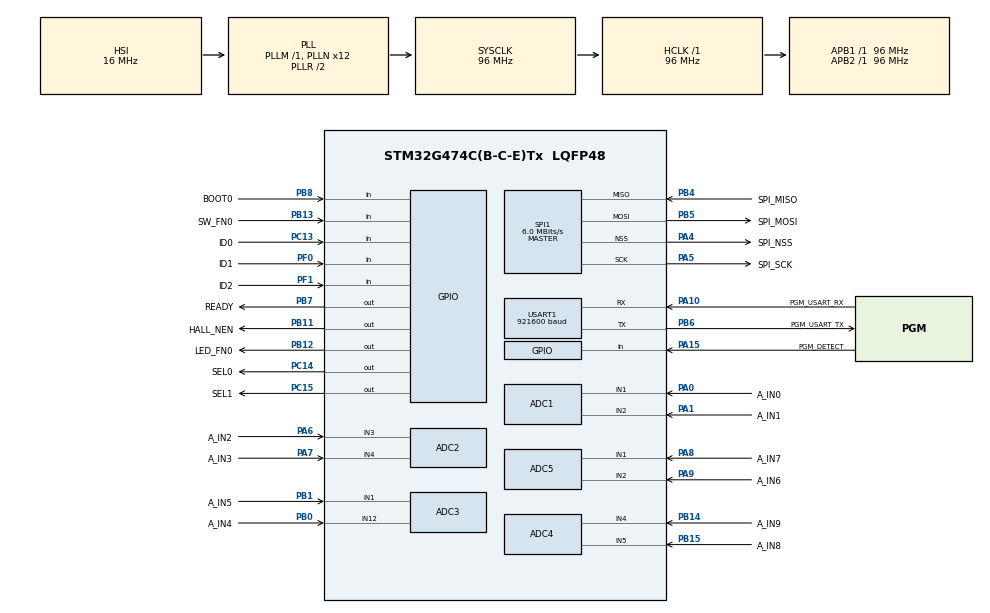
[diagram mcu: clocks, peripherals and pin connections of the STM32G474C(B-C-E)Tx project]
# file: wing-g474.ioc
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ADC1.Channel-1\#ChannelRegularConversion=ADC_CHANNEL_1
ADC1.EnableAnalogWatchDog1=false
ADC1.NbrOfConversion=1
ADC1.NbrOfConversionFlag=1
ADC1.OffsetNumber-1\#ChannelRegularConversion=ADC_OFFSET_NONE
ADC1.Rank-1\#ChannelRegularConversion=1
ADC1.SamplingTime-1\#ChannelRegularConversion=ADC_SAMPLETIME_2CYCLES_5
ADC1.master=1
ADC2.Channel-1\#ChannelRegularConversion=ADC_CHANNEL_3
ADC2.NbrOfConversionFlag=1
ADC2.OffsetNumber-1\#ChannelRegularConversion=ADC_OFFSET_NONE
ADC2.Rank-1\#ChannelRegularConversion=1
ADC2.SamplingTime-1\#ChannelRegularConversion=ADC_SAMPLETIME_2CYCLES_5
ADC3.Channel-0\#ChannelRegularConversion=ADC_CHANNEL_1
ADC3.NbrOfConversionFlag=1
ADC3.OffsetNumber-0\#ChannelRegularConversion=ADC_OFFSET_NONE
ADC3.Rank-0\#ChannelRegularConversion=1
ADC3.SamplingTime-0\#ChannelRegularConversion=ADC_SAMPLETIME_2CYCLES_5
ADC3.master=1
ADC4.Channel-0\#ChannelRegularConversion=ADC_CHANNEL_4
ADC4.NbrOfConversionFlag=1
ADC4.OffsetNumber-0\#ChannelRegularConversion=ADC_OFFSET_NONE
ADC4.Rank-0\#ChannelRegularConversion=1
ADC4.SamplingTime-0\#ChannelRegularConversion=ADC_SAMPLETIME_2CYCLES_5
ADC5.Channel-0\#ChannelRegularConversion=ADC_CHANNEL_1
ADC5.NbrOfConversionFlag=1
ADC5.OffsetNumber-0\#ChannelRegularConversion=ADC_OFFSET_NONE
ADC5.Rank-0\#ChannelRegularConversion=1
ADC5.SamplingTime-0\#ChannelRegularConversion=ADC_SAMPLETIME_2CYCLES_5
Dma.ADC1.0.Direction=DMA_PERIPH_TO_MEMORY
Dma.ADC1.0.EventEnable=DISABLE
Dma.ADC1.0.Instance=DMA1_Channel1
Dma.ADC1.0.MemDataAlignment=DMA_MDATAALIGN_HALFWORD
Dma.ADC1.0.MemInc=DMA_MINC_ENABLE
Dma.ADC1.0.Mode=DMA_CIRCULAR
Dma.ADC1.0.PeriphDataAlignment=DMA_PDATAALIGN_HALFWORD
Dma.ADC1.0.PeriphInc=DMA_PINC_DISABLE
Dma.ADC1.0.Polarity=HAL_DMAMUX_REQ_GEN_RISING
Dma.ADC1.0.Priority=DMA_PRIORITY_LOW
Dma.ADC1.0.RequestNumber=1
Dma.ADC1.0.SignalID=NONE
Dma.ADC1.0.SyncEnable=DISABLE
Dma.ADC1.0.SyncPolarity=HAL_DMAMUX_SYNC_NO_EVENT
Dma.ADC1.0.SyncRequestNumber=1
Dma.ADC1.0.SyncSignalID=NONE
Dma.ADC2.1.Direction=DMA_PERIPH_TO_MEMORY
Dma.ADC2.1.EventEnable=DISABLE
Dma.ADC2.1.Instance=DMA1_Channel2
Dma.ADC2.1.MemDataAlignment=DMA_MDATAALIGN_HALFWORD
Dma.ADC2.1.MemInc=DMA_MINC_ENABLE
Dma.ADC2.1.Mode=DMA_CIRCULAR
Dma.ADC2.1.PeriphDataAlignment=DMA_PDATAALIGN_HALFWORD
Dma.ADC2.1.PeriphInc=DMA_PINC_DISABLE
Dma.ADC2.1.Polarity=HAL_DMAMUX_REQ_GEN_RISING
Dma.ADC2.1.Priority=DMA_PRIORITY_LOW
Dma.ADC2.1.RequestNumber=1
Dma.ADC2.1.SignalID=NONE
Dma.ADC2.1.SyncEnable=DISABLE
Dma.ADC2.1.SyncPolarity=HAL_DMAMUX_SYNC_NO_EVENT
Dma.ADC2.1.SyncRequestNumber=1
Dma.ADC2.1.SyncSignalID=NONE
Dma.ADC3.2.Direction=DMA_PERIPH_TO_MEMORY
Dma.ADC3.2.EventEnable=DISABLE
Dma.ADC3.2.Instance=DMA1_Channel3
Dma.ADC3.2.MemDataAlignment=DMA_MDATAALIGN_HALFWORD
Dma.ADC3.2.MemInc=DMA_MINC_ENABLE
Dma.ADC3.2.Mode=DMA_CIRCULAR
Dma.ADC3.2.PeriphDataAlignment=DMA_PDATAALIGN_HALFWORD
Dma.ADC3.2.PeriphInc=DMA_PINC_DISABLE
Dma.ADC3.2.Polarity=HAL_DMAMUX_REQ_GEN_RISING
Dma.ADC3.2.Priority=DMA_PRIORITY_LOW
Dma.ADC3.2.RequestNumber=1
Dma.ADC3.2.SignalID=NONE
Dma.ADC3.2.SyncEnable=DISABLE
Dma.ADC3.2.SyncPolarity=HAL_DMAMUX_SYNC_NO_EVENT
Dma.ADC3.2.SyncRequestNumber=1
Dma.ADC3.2.SyncSignalID=NONE
Dma.ADC4.3.Direction=DMA_PERIPH_TO_MEMORY
Dma.ADC4.3.EventEnable=DISABLE
Dma.ADC4.3.Instance=DMA1_Channel4
Dma.ADC4.3.MemDataAlignment=DMA_MDATAALIGN_HALFWORD
Dma.ADC4.3.MemInc=DMA_MINC_ENABLE
Dma.ADC4.3.Mode=DMA_CIRCULAR
Dma.ADC4.3.PeriphDataAlignment=DMA_PDATAALIGN_HALFWORD
Dma.ADC4.3.PeriphInc=DMA_PINC_DISABLE
Dma.ADC4.3.Polarity=HAL_DMAMUX_REQ_GEN_RISING
Dma.ADC4.3.Priority=DMA_PRIORITY_LOW
Dma.ADC4.3.RequestNumber=1
Dma.ADC4.3.SignalID=NONE
Dma.ADC4.3.SyncEnable=DISABLE
Dma.ADC4.3.SyncPolarity=HAL_DMAMUX_SYNC_NO_EVENT
Dma.ADC4.3.SyncRequestNumber=1
Dma.ADC4.3.SyncSignalID=NONE
Dma.ADC5.4.Direction=DMA_PERIPH_TO_MEMORY
Dma.ADC5.4.EventEnable=DISABLE
Dma.ADC5.4.Instance=DMA1_Channel5
Dma.ADC5.4.MemDataAlignment=DMA_MDATAALIGN_HALFWORD
Dma.ADC5.4.MemInc=DMA_MINC_ENABLE
Dma.ADC5.4.Mode=DMA_CIRCULAR
Dma.ADC5.4.PeriphDataAlignment=DMA_PDATAALIGN_HALFWORD
Dma.ADC5.4.PeriphInc=DMA_PINC_DISABLE
Dma.ADC5.4.Polarity=HAL_DMAMUX_REQ_GEN_RISING
Dma.ADC5.4.Priority=DMA_PRIORITY_LOW
Dma.ADC5.4.RequestNumber=1
Dma.ADC5.4.SignalID=NONE
Dma.ADC5.4.SyncEnable=DISABLE
Dma.ADC5.4.SyncPolarity=HAL_DMAMUX_SYNC_NO_EVENT
Dma.ADC5.4.SyncRequestNumber=1
Dma.ADC5.4.SyncSignalID=NONE
Dma.Request0=ADC1
Dma.Request1=ADC2
Dma.Request2=ADC3
Dma.Request3=ADC4
Dma.Request4=ADC5
Mcu.Family=STM32G4
Mcu.Name=STM32G474C(B-C-E)Tx
Mcu.Package=LQFP48
NVIC.DMA1_Channel1_IRQn=true\:0\:0\:false\:false\:true\:false\:true\:true
NVIC.DMA1_Channel2_IRQn=true\:0\:0\:false\:false\:true\:false\:true\:true
NVIC.DMA1_Channel3_IRQn=true\:0\:0\:false\:false\:true\:false\:true\:true
NVIC.DMA1_Channel4_IRQn=true\:0\:0\:false\:false\:true\:false\:true\:true
NVIC.DMA1_Channel5_IRQn=true\:0\:0\:false\:false\:true\:false\:true\:true
NVIC.PriorityGroup=NVIC_PRIORITYGROUP_4
NVIC.USART1_IRQn=true\:0\:0\:false\:false\:true\:true\:true\:true
PA0.GPIO_Label=A_IN0
PA0.Mode=IN1-Single-Ended
PA0.Signal=ADC1_IN1
PA1.GPIO_Label=A_IN1
PA1.Mode=IN2-Single-Ended
PA1.Signal=ADC1_IN2
PA10.GPIO_Label=PGM_USART_RX
PA10.Mode=Asynchronous
PA10.Signal=USART1_RX
PA13.Mode=Trace_Asynchronous_SW
PA13.Signal=SYS_JTMS-SWDIO
PA14.Mode=Trace_Asynchronous_SW
PA14.Signal=SYS_JTCK-SWCLK
PA15.GPIO_Label=PGM_DETECT
PA15.GPIO_PuPd=GPIO_PULLUP
PA15.Signal=GPIO_Input
PA4.GPIO_Label=SPI_NSS
PA4.Mode=NSS_Signal_Hard_Output
PA4.Signal=SPI1_NSS
PA5.GPIO_Label=SPI_SCK
PA5.Mode=Full_Duplex_Master
PA5.Signal=SPI1_SCK
PA6.GPIO_Label=A_IN2
PA6.Mode=IN3-Single-Ended
PA6.Signal=ADC2_IN3
PA7.GPIO_Label=A_IN3
PA7.Mode=IN4-Single-Ended
PA7.Signal=ADC2_IN4
PA8.GPIO_Label=A_IN7
PA8.Mode=IN1-Single-Ended
PA8.Signal=ADC5_IN1
PA9.GPIO_Label=A_IN6
PA9.Mode=IN2-Single-Ended
PA9.Signal=ADC5_IN2
PB0.GPIO_Label=A_IN4
PB0.Mode=IN12-Single-Ended
PB0.Signal=ADC3_IN12
PB1.GPIO_Label=A_IN5
PB1.Mode=IN1-Single-Ended
PB1.Signal=ADC3_IN1
PB11.GPIO_Label=HALL_NEN
PB11.GPIO_ModeDefaultOutputPP=GPIO_MODE_OUTPUT_OD
PB11.GPIO_PuPd=GPIO_NOPULL
PB11.PinState=GPIO_PIN_SET
PB11.Signal=GPIO_Output
PB12.GPIO_Label=LED_FN0
PB12.Signal=GPIO_Output
PB13.GPIO_Label=SW_FN0
PB13.GPIO_PuPd=GPIO_PULLUP
PB13.Signal=GPIO_Input
PB14.GPIO_Label=A_IN9
PB14.Mode=IN4-Single-Ended
PB14.Signal=ADC4_IN4
PB15.GPIO_Label=A_IN8
PB15.Mode=IN5-Single-Ended
PB15.Signal=ADC4_IN5
PB3.Mode=Trace_Asynchronous_SW
PB3.Signal=SYS_JTDO-SWO
PB4.GPIO_Label=SPI_MISO
PB4.Mode=Full_Duplex_Master
PB4.Signal=SPI1_MISO
PB5.GPIO_Label=SPI_MOSI
PB5.Mode=Full_Duplex_Master
PB5.Signal=SPI1_MOSI
PB6.GPIO_Label=PGM_USART_TX
PB6.Mode=Asynchronous
PB6.Signal=USART1_TX
PB7.GPIO_Label=READY
PB7.Signal=GPIO_Output
PB8-BOOT0.GPIO_Label=BOOT0
PB8-BOOT0.Signal=GPIO_Input
PC13.GPIO_Label=ID0
PC13.Signal=GPIO_Input
PC14-OSC32_IN.GPIO_Label=SEL0
PC14-OSC32_IN.Signal=GPIO_Output
PC15-OSC32_OUT.GPIO_Label=SEL1
PC15-OSC32_OUT.Signal=GPIO_Output
PF0-OSC_IN.GPIO_Label=ID1
PF0-OSC_IN.Signal=GPIO_Input
PF1-OSC_OUT.GPIO_Label=ID2
PF1-OSC_OUT.Signal=GPIO_Input
ProjectManager.HeapSize=0x200
ProjectManager.StackSize=0x400
ProjectManager.TargetToolchain=CMake
RCC.ADC12Freq_Value=96000000
RCC.ADC345Freq_Value=96000000
RCC.AHBFreq_Value=96000000
RCC.APB1Freq_Value=96000000
RCC.APB1TimFreq_Value=96000000
RCC.APB2Freq_Value=96000000
RCC.APB2TimFreq_Value=96000000
RCC.CortexFreq_Value=96000000
RCC.EXTERNAL_CLOCK_VALUE=12288000
RCC.HCLKFreq_Value=96000000
RCC.HSE_VALUE=8000000
RCC.HSI48_VALUE=48000000
RCC.HSI_VALUE=16000000
RCC.LSE_VALUE=32768
RCC.PLLN=12
RCC.SYSCLKFreq_VALUE=96000000
RCC.SYSCLKSource=RCC_SYSCLKSOURCE_PLLCLK
RCC.USBFreq_Value=96000000
RCC.VCOOutputFreq_Value=192000000
SPI1.BaudRatePrescaler=SPI_BAUDRATEPRESCALER_16
SPI1.CRCCalculation=SPI_CRCCALCULATION_ENABLE
SPI1.CRCLength=SPI_CRC_LENGTH_16BIT
SPI1.CalculateBaudRate=6.0 MBits/s
SPI1.DataSize=SPI_DATASIZE_16BIT
SPI1.Direction=SPI_DIRECTION_2LINES
SPI1.Mode=SPI_MODE_MASTER
SPI1.NSSPMode=SPI_NSS_PULSE_DISABLE
SPI1.VirtualNSS=VM_NSSHARD
SPI1.VirtualType=VM_MASTER
USART1.BaudRate=921600
USART1.VirtualMode-Asynchronous=VM_ASYNC
VP_SYS_VS_DBSignals.Mode=DisableDeadBatterySignals
board=custom

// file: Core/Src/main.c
/* USER CODE BEGIN Header */
/**
  ******************************************************************************
  * @file           : main.c
  * @brief          : Main program body
  ******************************************************************************
  * @attention
  *
  * Copyright (c) 2026 STMicroelectronics.
  * All rights reserved.
  *
  * This software is licensed under terms that can be found in the LICENSE file
  * in the root directory of this software component.
  * If no LICENSE file comes with this software, it is provided AS-IS.
  *
  ******************************************************************************
  */
/* USER CODE END Header */
#include "main.h"

/* USER CODE BEGIN Includes */
#include <stdio.h>
#include <string.h>
#include "console.h"
/* USER CODE END Includes */

ADC_HandleTypeDef hadc1;
ADC_HandleTypeDef hadc2;
ADC_HandleTypeDef hadc3;
ADC_HandleTypeDef hadc4;
ADC_HandleTypeDef hadc5;
DMA_HandleTypeDef hdma_adc1;
DMA_HandleTypeDef hdma_adc2;
DMA_HandleTypeDef hdma_adc3;
DMA_HandleTypeDef hdma_adc4;
DMA_HandleTypeDef hdma_adc5;

SPI_HandleTypeDef hspi1;

UART_HandleTypeDef huart1;

void SystemClock_Config(void);
static void MX_GPIO_Init(void);
static void MX_DMA_Init(void);
static void MX_ADC1_Init(void);
static void MX_ADC2_Init(void);
static void MX_ADC3_Init(void);
static void MX_ADC4_Init(void);
static void MX_ADC5_Init(void);
static void MX_SPI1_Init(void);
static void MX_USART1_UART_Init(void);

/* USER CODE BEGIN 0 */

static uint8_t read_wing_id(void);

#define HALL_NUM_SEL   4
#define HALL_NUM_ADC   5
#define HALL_NUM_RANK  2
// Slots per ADC across a full sweep: one (sel, rank) pair each.
#define HALL_SLOTS_PER_ADC (HALL_NUM_SEL * HALL_NUM_RANK)
#define HALL_DEAD_ZONE 64
// Settling delay after switching the SEL mux, in spin-loop iterations.
#define MUX_LATENCY_CYCLES 160

// Number of hall sensor slots == number of physical keys on this wing.
#define KEYBOARD_NUM_KEYS (HALL_NUM_ADC * HALL_SLOTS_PER_ADC)

// Layout matches the per-ADC DMA buffer: [adc][sel*HALL_NUM_RANK + rank].
static uint16_t g_hall_data[HALL_NUM_ADC][HALL_SLOTS_PER_ADC];
static uint16_t g_hall_last_reported[HALL_NUM_ADC][HALL_SLOTS_PER_ADC];

// Running per-slot statistics since boot, fed by report_hall_stats().
static uint16_t g_hall_min[HALL_NUM_ADC][HALL_SLOTS_PER_ADC];
static uint16_t g_hall_max[HALL_NUM_ADC][HALL_SLOTS_PER_ADC];
static uint64_t g_hall_sum[HALL_NUM_ADC][HALL_SLOTS_PER_ADC];
static uint64_t g_hall_sumsq[HALL_NUM_ADC][HALL_SLOTS_PER_ADC];
static uint32_t g_hall_stat_count;

// The .ioc only sets the board layer (pins -> analog, DMA1_Ch1..5 -> ADC1..5,
// circular periph->mem halfword, MINC, NVIC). It leaves each ADC in single-
// conversion mode (ScanConvMode disabled, NbrOfConversion=1, DMAContinuousReq
// disabled). We switch each ADC to a 2-rank scan once at startup.

// Switch one ADC to a 2-rank regular scan feeding the (circular) DMA.
static void adc_set_scan2(ADC_HandleTypeDef *hadc, uint32_t chA, uint32_t chB)
{
  HAL_ADC_Stop(hadc);
  hadc->Init.ScanConvMode          = ADC_SCAN_ENABLE;
  hadc->Init.NbrOfConversion       = 2;
  hadc->Init.DMAContinuousRequests = ENABLE;   // match DMA_CIRCULAR from the MSP
  HAL_ADC_Init(hadc);

  ADC_ChannelConfTypeDef c = {0};
  c.SamplingTime = ADC_SAMPLETIME_2CYCLES_5;
  c.SingleDiff   = ADC_SINGLE_ENDED;
  c.OffsetNumber = ADC_OFFSET_NONE;
  c.Rank = ADC_REGULAR_RANK_1; c.Channel = chA; HAL_ADC_ConfigChannel(hadc, &c);
  c.Rank = ADC_REGULAR_RANK_2; c.Channel = chB; HAL_ADC_ConfigChannel(hadc, &c);
}

// Performs one full sweep into hall_data.
static void hall_keyboard_scan(uint16_t hall_data[HALL_NUM_ADC][HALL_SLOTS_PER_ADC])
{
  static int initialized = 0;
  static ADC_HandleTypeDef *const adcs[5] = { &hadc1, &hadc2, &hadc3, &hadc4, &hadc5 };
  static const uint32_t chA[5] = { ADC_CHANNEL_1, ADC_CHANNEL_3, ADC_CHANNEL_12, ADC_CHANNEL_4, ADC_CHANNEL_1 };
  static const uint32_t chB[5] = { ADC_CHANNEL_2, ADC_CHANNEL_4, ADC_CHANNEL_1,  ADC_CHANNEL_5, ADC_CHANNEL_2 };

  if (!initialized)
  {
    HAL_GPIO_WritePin(HALL_NEN_GPIO_Port, HALL_NEN_Pin, GPIO_PIN_RESET);
    HAL_Delay(5);
    for (int a = 0; a < 5; a++)
      adc_set_scan2(adcs[a], chA[a], chB[a]);
    initialized = 1;
  }

  for (int sel = 0; sel < HALL_NUM_SEL; sel++)
  {
    HAL_GPIO_WritePin(SEL0_GPIO_Port, SEL0_Pin, (sel & 1) ? GPIO_PIN_SET : GPIO_PIN_RESET);
    HAL_GPIO_WritePin(SEL1_GPIO_Port, SEL1_Pin, (sel & 2) ? GPIO_PIN_SET : GPIO_PIN_RESET);
    for (volatile int i = 0; i < MUX_LATENCY_CYCLES; i++) __NOP();

    if (sel == 0)
    {
      // Arm DMA for the whole sweep (8 = 4 sel x 2 ranks) straight into
      // hall_data, whose layout already matches the per-ADC buffer. Start_DMA
      // also issues the software trigger for sel 0. The circular buffer wraps
      // back to index 0 after exactly 8 transfers, i.e. at the end of the sweep.
      for (int a = 0; a < 5; a++)
        HAL_ADC_Start_DMA(adcs[a], (uint32_t *)hall_data[a], HALL_SLOTS_PER_ADC);
    }
    else
    {
      // ADCs are armed; just re-trigger. ContinuousConvMode is disabled, so the
      // ADC halts after each 2-rank sequence -> ADSTART is a clean per-sel gate.
      for (int a = 0; a < 5; a++)
        SET_BIT(adcs[a]->Instance->CR, ADC_CR_ADSTART);
    }

    // Wait for all 5 sequences (2 conversions each) to finish.
    for (int a = 0; a < 5; a++)
      while (READ_BIT(adcs[a]->Instance->CR, ADC_CR_ADSTART)) { }
  }
  for (int a = 0; a < 5; a++)
    HAL_ADC_Stop_DMA(adcs[a]);

  // DMA wrote straight into hall_data in its [adc][sel*rank + rank] layout,
  // so no de-interleave step is needed.
}

// Set once min/max have been seeded; unlike g_hall_stat_count, this is not
// reset by reset_hall_stddev_stats() so min/max remain since-boot.
static int g_hall_minmax_initialized;

// Updates the running min/max/sum/sumsq stats with one sweep's readings.
static void report_hall_stats(uint16_t hall_data[HALL_NUM_ADC][HALL_SLOTS_PER_ADC])
{
  int first = !g_hall_minmax_initialized;
  g_hall_minmax_initialized = 1;
  g_hall_stat_count++;
  for (int a = 0; a < HALL_NUM_ADC; a++)
    for (int s = 0; s < HALL_SLOTS_PER_ADC; s++)
    {
      uint16_t v = hall_data[a][s];
      if (first || v < g_hall_min[a][s]) g_hall_min[a][s] = v;
      if (first || v > g_hall_max[a][s]) g_hall_max[a][s] = v;
      g_hall_sum[a][s]   += v;
      g_hall_sumsq[a][s] += (uint64_t)v * v;
    }
}

// Resets the sum/sumsq/count accumulators every STATS_RESET_PERIOD_MS so
// stddev reflects only the last reset window; min/max are left untouched.
#define STATS_RESET_PERIOD_MS 3000
static void reset_hall_stddev_stats(void)
{
  memset(g_hall_sum, 0, sizeof(g_hall_sum));
  memset(g_hall_sumsq, 0, sizeof(g_hall_sumsq));
  g_hall_stat_count = 0;
}

// Integer square root (floor), via Newton's method.
static uint32_t isqrt32(uint32_t x)
{
  if (x == 0) return 0;
  uint32_t r = x, r_prev;
  do {
    r_prev = r;
    r = (r + x / r) / 2;
  } while (r < r_prev);
  return r_prev;
}

// Reports hall_data slots that moved by at least HALL_DEAD_ZONE since the
// last report.
static void report_hall_changes(uint16_t hall_data[HALL_NUM_ADC][HALL_SLOTS_PER_ADC])
{
  for (int a = 0; a < HALL_NUM_ADC; a++)
    for (int s = 0; s < HALL_SLOTS_PER_ADC; s++)
    {
      uint16_t cur  = hall_data[a][s];
      uint16_t last = g_hall_last_reported[a][s];
      int delta = (int)cur - (int)last;
      if (delta < 0) delta = -delta;
      if (last && delta >= HALL_DEAD_ZONE)
      {
        printf(" > dma scan    :  adc=%d sel=%d rank=%d: %4u -> %4u\r\n",
               a, s / HALL_NUM_RANK, s % HALL_NUM_RANK,
               (unsigned)last, (unsigned)cur);
        g_hall_last_reported[a][s] = cur;
      }
    }
}

// Builds and sends one full keyboard frame over the SPI link: word 0 is this
// wing's id, words 1..KEYBOARD_NUM_KEYS are the raw hall measurement for each
// key in flattened order (adc * HALL_SLOTS_PER_ADC + slot). The frame carries
// the full absolute keyboard state every cycle, so a dropped (CRC-failed)
// frame just leaves the receiver at its previous state until the next arrives.
static void keyboard_process(uint16_t hall_data[HALL_NUM_ADC][HALL_SLOTS_PER_ADC])
{
  uint16_t frame[1 + KEYBOARD_NUM_KEYS];

  frame[0] = read_wing_id();
  for (int a = 0; a < HALL_NUM_ADC; a++)
    for (int s = 0; s < HALL_SLOTS_PER_ADC; s++)
      frame[1 + a * HALL_SLOTS_PER_ADC + s] = hall_data[a][s];

  uint32_t sr_before = hspi1.Instance->SR;
  uint32_t cr1_before = hspi1.Instance->CR1;
  HAL_StatusTypeDef spi_status = HAL_SPI_Transmit(&hspi1, (uint8_t *)frame, 1 + KEYBOARD_NUM_KEYS, 500);
  if (spi_status != HAL_OK)
    printf("SPI transmit failed: size=%u status=%d error=0x%lx SR_before=0x%lx CR1_before=0x%lx SR=0x%lx CR1=0x%lx\r\n",
           (unsigned)(1 + KEYBOARD_NUM_KEYS), (int)spi_status, (unsigned long)hspi1.ErrorCode,
           (unsigned long)sr_before, (unsigned long)cr1_before,
           (unsigned long)hspi1.Instance->SR, (unsigned long)hspi1.Instance->CR1);

  // HAL_SPI_Transmit leaves SPE set after a successful transfer, but with CRC
  // enabled the next call's SPI_RESET_CRC (toggling CRCEN) is only valid while
  // SPE=0 (RM0440). Disable here so each frame starts from a clean state.
  __HAL_SPI_DISABLE(&hspi1);

  // CRCNEXT is left set (HAL never clears it once the data write races ahead
  // of the shift register for single-word transfers), so the next transfer
  // starts with the peripheral expecting to send a CRC instead of data. Clear
  // it explicitly so each frame starts from a known state.
  CLEAR_BIT(hspi1.Instance->CR1, SPI_CR1_CRCNEXT);

  static uint32_t last_tick = 0;
  uint32_t now = HAL_GetTick();
  if (now - last_tick >= 500)
  {
    last_tick = now;
    printf("SPI frame: wing=%u", (unsigned)frame[0]);
    for (int i = 0; i < KEYBOARD_NUM_KEYS; i++)
      printf(" %u", (unsigned)frame[1 + i]);
    printf("\r\n");
  }
}

// The wing id is strapped on fixed ID0..ID2 pins, so read it once on first
// use and cache it forever.
static uint8_t read_wing_id(void)
{
  static int cached = 0;
  static uint8_t id = 0;
  if (!cached)
  {
    if (HAL_GPIO_ReadPin(ID0_GPIO_Port, ID0_Pin) == GPIO_PIN_SET) id |= 1;
    if (HAL_GPIO_ReadPin(ID1_GPIO_Port, ID1_Pin) == GPIO_PIN_SET) id |= 2;
    if (HAL_GPIO_ReadPin(ID2_GPIO_Port, ID2_Pin) == GPIO_PIN_SET) id |= 4;
    cached = 1;
  }
  return id;
}

typedef struct {
  GPIO_TypeDef *port;
  uint16_t pin;
  int remaining;
  uint32_t last_tick;
  int led_on;
} blink_state_t;

static volatile blink_state_t g_blink;

// Toggled by the "show_keys" console command; main loop prints g_hall_data
// as a table at SHOW_KEYS_PERIOD_MS while set.
#define SHOW_KEYS_PERIOD_MS 50
static volatile int g_show_keys = 0;

// Toggled by the "show_stats" console command; adds min/max/stddev tables
// below the live readings while g_show_keys is also set.
static volatile int g_show_stats = 0;

// Background color for one hall reading: no background at/above
// HALL_COLOR_HIGH, fading from blue (at HALL_COLOR_HIGH) to orange (at/below
// HALL_COLOR_LOW), and dark grey text with no background below HALL_COLOR_MIN.
#define HALL_COLOR_HIGH 2040
#define HALL_COLOR_LOW  1500
#define HALL_COLOR_MIN  100
static void print_hall_cell(uint16_t val)
{
  if ((int)val < HALL_COLOR_MIN)
  {
    printf("\033[90m %6u\033[0m", (unsigned)val);
    return;
  }

  if ((int)val >= HALL_COLOR_HIGH)
  {
    printf(" %6u", (unsigned)val);
    return;
  }

  int span = HALL_COLOR_HIGH - HALL_COLOR_LOW;
  int t = HALL_COLOR_HIGH - (int)val;
  if (t > span) t = span;

  int r = 255 * t / span;
  int g = 165 * t / span;
  int b = 255 - 255 * t / span;
  printf("\033[48;2;%d;%d;%dm %6u\033[0m", r, g, b, (unsigned)val);
}

static void print_hall_header(void)
{
  printf("     ");
  for (int sel = 0; sel < HALL_NUM_SEL; sel++)
    for (int rank = 0; rank < HALL_NUM_RANK; rank++)
      printf(" sel%d.%d", sel, rank);
  printf("\033[K\r\n");
}

// Peak background intensity (0-255) for the statistic-table gradient; kept
// low so the cells stay dark.
#define HALL_STAT_COLOR_MAX 100

// Background color for one statistic-table cell, relative to the table's own
// [lo, hi] range (which excludes zero cells): green near lo, red near hi,
// black in the middle third of the range. Zero cells are always dark grey
// with no background, regardless of range.
static void print_hall_stat_cell(uint16_t val, uint16_t lo, uint16_t hi)
{
  if (val == 0)
  {
    printf("\033[90m %6u\033[0m", (unsigned)val);
    return;
  }

  int range = (int)hi - (int)lo;
  if (range <= 0)
  {
    printf("\033[48;2;0;0;0m %6u\033[0m", (unsigned)val);
    return;
  }

  int pos = (int)val - (int)lo;
  int third = range / 3;

  if (pos > third && pos < range - third)
  {
    printf("\033[48;2;0;0;0m %6u\033[0m", (unsigned)val);
    return;
  }

  if (pos <= third)
  {
    int denom = third > 0 ? third : range;
    int t = denom - pos;
    if (t > denom) t = denom;
    int g = HALL_STAT_COLOR_MAX * t / denom;
    printf("\033[48;2;0;%d;0m %6u\033[0m", g, (unsigned)val);
  }
  else
  {
    int denom = third > 0 ? third : range;
    int t = pos - (range - denom);
    if (t > denom) t = denom;
    int r = HALL_STAT_COLOR_MAX * t / denom;
    printf("\033[48;2;%d;0;0m %6u\033[0m", r, (unsigned)val);
  }
}

// Prints a labelled table of values color-coded relative to the table's own
// min/max range, e.g. for the min/max/diff/stddev statistics tables. Zero
// cells are excluded from the range computation (and shown in dark grey).
// Followed by a blank separator line. "suffix" (may be NULL) is appended to
// the title, e.g. to report the stddev sample count.
static void print_hall_value_table(const char *label, uint16_t arr[HALL_NUM_ADC][HALL_SLOTS_PER_ADC], const char *suffix)
{
  uint16_t lo = 0, hi = 0;
  int have_range = 0;
  for (int a = 0; a < HALL_NUM_ADC; a++)
    for (int s = 0; s < HALL_SLOTS_PER_ADC; s++)
    {
      if (arr[a][s] == 0) continue;
      if (!have_range || arr[a][s] < lo) lo = arr[a][s];
      if (!have_range || arr[a][s] > hi) hi = arr[a][s];
      have_range = 1;
    }

  printf("----- %s (from %u to %u)%s -----\033[K\r\n", label, (unsigned)lo, (unsigned)hi, suffix ? suffix : "");
  print_hall_header();
  for (int a = 0; a < HALL_NUM_ADC; a++)
  {
    printf("adc%d ", a);
    for (int s = 0; s < HALL_SLOTS_PER_ADC; s++)
      print_hall_stat_cell(arr[a][s], lo, hi);
    printf("\033[K\r\n");
  }
  printf("\033[K\r\n");
}

static void print_hall_table(uint16_t hall_data[HALL_NUM_ADC][HALL_SLOTS_PER_ADC], uint32_t scan_freq_hz)
{
  // Save the cursor (sitting in the prompt line), hide it while redrawing the
  // table in place at the top of the screen (avoids it visibly jumping
  // through the table), then restore position and visibility so the prompt
  // and any partially-typed command are undisturbed.
  printf("\0337\033[?25l\033[H");
  printf("scan freq   : %6lu Hz\033[K\r\n", (unsigned long)scan_freq_hz);
  print_hall_header();

  for (int a = 0; a < HALL_NUM_ADC; a++)
  {
    printf("adc%d ", a);
    for (int s = 0; s < HALL_SLOTS_PER_ADC; s++)
      print_hall_cell(hall_data[a][s]);
    printf("\033[K\r\n");
  }

  if (g_show_stats)
  {
    printf("\033[K\r\n");
    print_hall_value_table("min", g_hall_min, NULL);
    print_hall_value_table("max", g_hall_max, NULL);

    uint16_t diff[HALL_NUM_ADC][HALL_SLOTS_PER_ADC];
    for (int a = 0; a < HALL_NUM_ADC; a++)
      for (int s = 0; s < HALL_SLOTS_PER_ADC; s++)
        diff[a][s] = g_hall_max[a][s] - g_hall_min[a][s];
    print_hall_value_table("diff", diff, NULL);

    uint16_t stddev[HALL_NUM_ADC][HALL_SLOTS_PER_ADC];
    uint32_t count = g_hall_stat_count ? g_hall_stat_count : 1;
    for (int a = 0; a < HALL_NUM_ADC; a++)
      for (int s = 0; s < HALL_SLOTS_PER_ADC; s++)
      {
        uint32_t mean    = (uint32_t)(g_hall_sum[a][s]   / count);
        uint32_t mean_sq = (uint32_t)(g_hall_sumsq[a][s] / count);
        uint32_t var = (mean_sq > mean * mean) ? mean_sq - mean * mean : 0;
        stddev[a][s] = (uint16_t)isqrt32(var);
      }
    char stddev_suffix[24];
    snprintf(stddev_suffix, sizeof(stddev_suffix), ", %lu samples", (unsigned long)g_hall_stat_count);
    print_hall_value_table("stddev", stddev, stddev_suffix);
  }

  printf("\0338\033[?25h");
}

static void blink_tick(void)
{
  if (g_blink.remaining == 0)
    return;
  uint32_t now = HAL_GetTick();
  if (now - g_blink.last_tick < 200)
    return;
  g_blink.last_tick = now;
  if (g_blink.led_on)
  {
    HAL_GPIO_WritePin(g_blink.port, g_blink.pin, GPIO_PIN_RESET);
    g_blink.led_on = 0;
    g_blink.remaining--;
  }
  else
  {
    HAL_GPIO_WritePin(g_blink.port, g_blink.pin, GPIO_PIN_SET);
    g_blink.led_on = 1;
  }
}

int console_execute(int argc, const char * const *argv)
{
  if (argc == 0)
    return 0;
  if (strcmp(argv[0], "hello") == 0)
    printf("Hello from Wing %u!\r\n", read_wing_id());
  else if (strcmp(argv[0], "blink") == 0 && argc >= 2)
  {
    GPIO_TypeDef *port = NULL;
    uint16_t pin = 0;
    if (strcmp(argv[1], "fn0") == 0)       { port = LED_FN0_GPIO_Port; pin = LED_FN0_Pin; }
    else if (strcmp(argv[1], "ready") == 0) { port = READY_GPIO_Port;   pin = READY_Pin;   }
    else printf("Unknown LED: %s (fn0, ready)\r\n", argv[1]);
    if (port)
    {
      g_blink.port = port;
      g_blink.pin = pin;
      g_blink.remaining = 5;
      g_blink.last_tick = HAL_GetTick();
      g_blink.led_on = 0;
    }
  }
  else if (strcmp(argv[0], "key") == 0)
  {
    g_show_keys = !g_show_keys;
    printf("show_keys: %s\r\n", g_show_keys ? "on" : "off");
  }
  else if (strcmp(argv[0], "stat") == 0)
  {
    g_show_stats = !g_show_stats;
    printf("show_stats: %s\r\n", g_show_stats ? "on" : "off");
  }
  else
    printf("Unknown command: %s\r\n", argv[0]);
  return 0;
}

/* USER CODE END 0 */

int main(void)
{

  /* MCU Configuration--------------------------------------------------------*/

  /* Reset of all peripherals, Initializes the Flash interface and the Systick. */
  HAL_Init();

  /* Configure the system clock */
  SystemClock_Config();

  /* Initialize all configured peripherals */
  MX_GPIO_Init();
  MX_DMA_Init();
  MX_ADC1_Init();
  MX_ADC2_Init();
  MX_ADC3_Init();
  MX_ADC4_Init();
  MX_ADC5_Init();
  MX_SPI1_Init();
  MX_USART1_UART_Init();
  /* USER CODE BEGIN 2 */
  console_init(&huart1, USART1_IRQn);
  printf("SPI1 init: APB2ENR=0x%lx CR1=0x%lx CR2=0x%lx SR=0x%lx\r\n",
         (unsigned long)RCC->APB2ENR, (unsigned long)SPI1->CR1,
         (unsigned long)SPI1->CR2, (unsigned long)SPI1->SR);
  /* USER CODE END 2 */

  /* Infinite loop */
  /* USER CODE BEGIN WHILE */
  uint8_t fn0_prev = 0xFF;
  uint32_t poll_count = 0;
  uint32_t last_poll_tick = HAL_GetTick();
  uint32_t last_stats_reset_tick = HAL_GetTick();
  while (1)
  {
    /* USER CODE END WHILE */

    /* USER CODE BEGIN 3 */
    uint8_t fn0 = HAL_GPIO_ReadPin(SW_FN0_GPIO_Port, SW_FN0_Pin) == GPIO_PIN_RESET ? 1 : 0;
    if (fn0 != fn0_prev)
    {
      fn0_prev = fn0;
      printf("FN0: %c\r\n", fn0 ? '1' : '0');
    }

    blink_tick();

    hall_keyboard_scan(g_hall_data);
    report_hall_stats(g_hall_data);
    keyboard_process(g_hall_data);

    poll_count++;
    uint32_t now = HAL_GetTick();
    uint32_t elapsed = now - last_poll_tick;

    if (now - last_stats_reset_tick >= STATS_RESET_PERIOD_MS)
    {
      reset_hall_stddev_stats();
      last_stats_reset_tick = now;
    }

    if(g_show_keys) {
      if(elapsed >= SHOW_KEYS_PERIOD_MS)
      {
        print_hall_table(g_hall_data, poll_count * 1000u / elapsed);
        poll_count = 0;
        last_poll_tick = now;
      }
    } else {
      if(elapsed >= 1000)
      {
        printf("poll freq   : %6lu Hz\r\n",
              (unsigned long)(poll_count * 1000u / elapsed));
        poll_count = 0;
        last_poll_tick = now;
      }
      report_hall_changes(g_hall_data);
    }
 }
  /* USER CODE END 3 */
}

void SystemClock_Config(void)
{
  RCC_OscInitTypeDef RCC_OscInitStruct = {0};
  RCC_ClkInitTypeDef RCC_ClkInitStruct = {0};

  /** Configure the main internal regulator output voltage
  */
  HAL_PWREx_ControlVoltageScaling(PWR_REGULATOR_VOLTAGE_SCALE1);

  /** Initializes the RCC Oscillators according to the specified parameters
  * in the RCC_OscInitTypeDef structure.
  */
  RCC_OscInitStruct.OscillatorType = RCC_OSCILLATORTYPE_HSI;
  RCC_OscInitStruct.HSIState = RCC_HSI_ON;
  RCC_OscInitStruct.HSICalibrationValue = RCC_HSICALIBRATION_DEFAULT;
  RCC_OscInitStruct.PLL.PLLState = RCC_PLL_ON;
  RCC_OscInitStruct.PLL.PLLSource = RCC_PLLSOURCE_HSI;
  RCC_OscInitStruct.PLL.PLLM = RCC_PLLM_DIV1;
  RCC_OscInitStruct.PLL.PLLN = 12;
  RCC_OscInitStruct.PLL.PLLP = RCC_PLLP_DIV2;
  RCC_OscInitStruct.PLL.PLLQ = RCC_PLLQ_DIV2;
  RCC_OscInitStruct.PLL.PLLR = RCC_PLLR_DIV2;
  if (HAL_RCC_OscConfig(&RCC_OscInitStruct) != HAL_OK)
  {
    Error_Handler();
  }

  /** Initializes the CPU, AHB and APB buses clocks
  */
  RCC_ClkInitStruct.ClockType = RCC_CLOCKTYPE_HCLK|RCC_CLOCKTYPE_SYSCLK
                              |RCC_CLOCKTYPE_PCLK1|RCC_CLOCKTYPE_PCLK2;
  RCC_ClkInitStruct.SYSCLKSource = RCC_SYSCLKSOURCE_PLLCLK;
  RCC_ClkInitStruct.AHBCLKDivider = RCC_SYSCLK_DIV1;
  RCC_ClkInitStruct.APB1CLKDivider = RCC_HCLK_DIV1;
  RCC_ClkInitStruct.APB2CLKDivider = RCC_HCLK_DIV1;

  if (HAL_RCC_ClockConfig(&RCC_ClkInitStruct, FLASH_LATENCY_3) != HAL_OK)
  {
    Error_Handler();
  }
}

static void MX_ADC1_Init(void)
{

  ADC_MultiModeTypeDef multimode = {0};
  ADC_ChannelConfTypeDef sConfig = {0};

  /** Common config
  */
  hadc1.Instance = ADC1;
  hadc1.Init.ClockPrescaler = ADC_CLOCK_SYNC_PCLK_DIV2;
  hadc1.Init.Resolution = ADC_RESOLUTION_12B;
  hadc1.Init.DataAlign = ADC_DATAALIGN_RIGHT;
  hadc1.Init.GainCompensation = 0;
  hadc1.Init.ScanConvMode = ADC_SCAN_DISABLE;
  hadc1.Init.EOCSelection = ADC_EOC_SINGLE_CONV;
  hadc1.Init.LowPowerAutoWait = DISABLE;
  hadc1.Init.ContinuousConvMode = DISABLE;
  hadc1.Init.NbrOfConversion = 1;
  hadc1.Init.DiscontinuousConvMode = DISABLE;
  hadc1.Init.ExternalTrigConv = ADC_SOFTWARE_START;
  hadc1.Init.ExternalTrigConvEdge = ADC_EXTERNALTRIGCONVEDGE_NONE;
  hadc1.Init.DMAContinuousRequests = DISABLE;
  hadc1.Init.Overrun = ADC_OVR_DATA_PRESERVED;
  hadc1.Init.OversamplingMode = DISABLE;
  if (HAL_ADC_Init(&hadc1) != HAL_OK)
  {
    Error_Handler();
  }

  /** Configure the ADC multi-mode
  */
  multimode.Mode = ADC_MODE_INDEPENDENT;
  if (HAL_ADCEx_MultiModeConfigChannel(&hadc1, &multimode) != HAL_OK)
  {
    Error_Handler();
  }

  /** Configure Regular Channel
  */
  sConfig.Channel = ADC_CHANNEL_1;
  sConfig.Rank = ADC_REGULAR_RANK_1;
  sConfig.SamplingTime = ADC_SAMPLETIME_2CYCLES_5;
  sConfig.SingleDiff = ADC_SINGLE_ENDED;
  sConfig.OffsetNumber = ADC_OFFSET_NONE;
  sConfig.Offset = 0;
  if (HAL_ADC_ConfigChannel(&hadc1, &sConfig) != HAL_OK)
  {
    Error_Handler();
  }

}

static void MX_ADC2_Init(void)
{

  ADC_ChannelConfTypeDef sConfig = {0};

  /** Common config
  */
  hadc2.Instance = ADC2;
  hadc2.Init.ClockPrescaler = ADC_CLOCK_SYNC_PCLK_DIV2;
  hadc2.Init.Resolution = ADC_RESOLUTION_12B;
  hadc2.Init.DataAlign = ADC_DATAALIGN_RIGHT;
  hadc2.Init.GainCompensation = 0;
  hadc2.Init.ScanConvMode = ADC_SCAN_DISABLE;
  hadc2.Init.EOCSelection = ADC_EOC_SINGLE_CONV;
  hadc2.Init.LowPowerAutoWait = DISABLE;
  hadc2.Init.ContinuousConvMode = DISABLE;
  hadc2.Init.NbrOfConversion = 1;
  hadc2.Init.DiscontinuousConvMode = DISABLE;
  hadc2.Init.ExternalTrigConv = ADC_SOFTWARE_START;
  hadc2.Init.ExternalTrigConvEdge = ADC_EXTERNALTRIGCONVEDGE_NONE;
  hadc2.Init.DMAContinuousRequests = DISABLE;
  hadc2.Init.Overrun = ADC_OVR_DATA_PRESERVED;
  hadc2.Init.OversamplingMode = DISABLE;
  if (HAL_ADC_Init(&hadc2) != HAL_OK)
  {
    Error_Handler();
  }

  /** Configure Regular Channel
  */
  sConfig.Channel = ADC_CHANNEL_3;
  sConfig.Rank = ADC_REGULAR_RANK_1;
  sConfig.SamplingTime = ADC_SAMPLETIME_2CYCLES_5;
  sConfig.SingleDiff = ADC_SINGLE_ENDED;
  sConfig.OffsetNumber = ADC_OFFSET_NONE;
  sConfig.Offset = 0;
  if (HAL_ADC_ConfigChannel(&hadc2, &sConfig) != HAL_OK)
  {
    Error_Handler();
  }

}

static void MX_ADC3_Init(void)
{

  ADC_MultiModeTypeDef multimode = {0};
  ADC_ChannelConfTypeDef sConfig = {0};

  /** Common config
  */
  hadc3.Instance = ADC3;
  hadc3.Init.ClockPrescaler = ADC_CLOCK_SYNC_PCLK_DIV2;
  hadc3.Init.Resolution = ADC_RESOLUTION_12B;
  hadc3.Init.DataAlign = ADC_DATAALIGN_RIGHT;
  hadc3.Init.GainCompensation = 0;
  hadc3.Init.ScanConvMode = ADC_SCAN_DISABLE;
  hadc3.Init.EOCSelection = ADC_EOC_SINGLE_CONV;
  hadc3.Init.LowPowerAutoWait = DISABLE;
  hadc3.Init.ContinuousConvMode = DISABLE;
  hadc3.Init.NbrOfConversion = 1;
  hadc3.Init.DiscontinuousConvMode = DISABLE;
  hadc3.Init.ExternalTrigConv = ADC_SOFTWARE_START;
  hadc3.Init.ExternalTrigConvEdge = ADC_EXTERNALTRIGCONVEDGE_NONE;
  hadc3.Init.DMAContinuousRequests = DISABLE;
  hadc3.Init.Overrun = ADC_OVR_DATA_PRESERVED;
  hadc3.Init.OversamplingMode = DISABLE;
  if (HAL_ADC_Init(&hadc3) != HAL_OK)
  {
    Error_Handler();
  }

  /** Configure the ADC multi-mode
  */
  multimode.Mode = ADC_MODE_INDEPENDENT;
  if (HAL_ADCEx_MultiModeConfigChannel(&hadc3, &multimode) != HAL_OK)
  {
    Error_Handler();
  }

  /** Configure Regular Channel
  */
  sConfig.Channel = ADC_CHANNEL_1;
  sConfig.Rank = ADC_REGULAR_RANK_1;
  sConfig.SamplingTime = ADC_SAMPLETIME_2CYCLES_5;
  sConfig.SingleDiff = ADC_SINGLE_ENDED;
  sConfig.OffsetNumber = ADC_OFFSET_NONE;
  sConfig.Offset = 0;
  if (HAL_ADC_ConfigChannel(&hadc3, &sConfig) != HAL_OK)
  {
    Error_Handler();
  }

}

static void MX_ADC4_Init(void)
{

  ADC_ChannelConfTypeDef sConfig = {0};

  /** Common config
  */
  hadc4.Instance = ADC4;
  hadc4.Init.ClockPrescaler = ADC_CLOCK_SYNC_PCLK_DIV2;
  hadc4.Init.Resolution = ADC_RESOLUTION_12B;
  hadc4.Init.DataAlign = ADC_DATAALIGN_RIGHT;
  hadc4.Init.GainCompensation = 0;
  hadc4.Init.ScanConvMode = ADC_SCAN_DISABLE;
  hadc4.Init.EOCSelection = ADC_EOC_SINGLE_CONV;
  hadc4.Init.LowPowerAutoWait = DISABLE;
  hadc4.Init.ContinuousConvMode = DISABLE;
  hadc4.Init.NbrOfConversion = 1;
  hadc4.Init.DiscontinuousConvMode = DISABLE;
  hadc4.Init.ExternalTrigConv = ADC_SOFTWARE_START;
  hadc4.Init.ExternalTrigConvEdge = ADC_EXTERNALTRIGCONVEDGE_NONE;
  hadc4.Init.DMAContinuousRequests = DISABLE;
  hadc4.Init.Overrun = ADC_OVR_DATA_PRESERVED;
  hadc4.Init.OversamplingMode = DISABLE;
  if (HAL_ADC_Init(&hadc4) != HAL_OK)
  {
    Error_Handler();
  }

  /** Configure Regular Channel
  */
  sConfig.Channel = ADC_CHANNEL_4;
  sConfig.Rank = ADC_REGULAR_RANK_1;
  sConfig.SamplingTime = ADC_SAMPLETIME_2CYCLES_5;
  sConfig.SingleDiff = ADC_SINGLE_ENDED;
  sConfig.OffsetNumber = ADC_OFFSET_NONE;
  sConfig.Offset = 0;
  if (HAL_ADC_ConfigChannel(&hadc4, &sConfig) != HAL_OK)
  {
    Error_Handler();
  }

}

static void MX_ADC5_Init(void)
{

  ADC_ChannelConfTypeDef sConfig = {0};

  /** Common config
  */
  hadc5.Instance = ADC5;
  hadc5.Init.ClockPrescaler = ADC_CLOCK_SYNC_PCLK_DIV2;
  hadc5.Init.Resolution = ADC_RESOLUTION_12B;
  hadc5.Init.DataAlign = ADC_DATAALIGN_RIGHT;
  hadc5.Init.GainCompensation = 0;
  hadc5.Init.ScanConvMode = ADC_SCAN_DISABLE;
  hadc5.Init.EOCSelection = ADC_EOC_SINGLE_CONV;
  hadc5.Init.LowPowerAutoWait = DISABLE;
  hadc5.Init.ContinuousConvMode = DISABLE;
  hadc5.Init.NbrOfConversion = 1;
  hadc5.Init.DiscontinuousConvMode = DISABLE;
  hadc5.Init.ExternalTrigConv = ADC_SOFTWARE_START;
  hadc5.Init.ExternalTrigConvEdge = ADC_EXTERNALTRIGCONVEDGE_NONE;
  hadc5.Init.DMAContinuousRequests = DISABLE;
  hadc5.Init.Overrun = ADC_OVR_DATA_PRESERVED;
  hadc5.Init.OversamplingMode = DISABLE;
  if (HAL_ADC_Init(&hadc5) != HAL_OK)
  {
    Error_Handler();
  }

  /** Configure Regular Channel
  */
  sConfig.Channel = ADC_CHANNEL_1;
  sConfig.Rank = ADC_REGULAR_RANK_1;
  sConfig.SamplingTime = ADC_SAMPLETIME_2CYCLES_5;
  sConfig.SingleDiff = ADC_SINGLE_ENDED;
  sConfig.OffsetNumber = ADC_OFFSET_NONE;
  sConfig.Offset = 0;
  if (HAL_ADC_ConfigChannel(&hadc5, &sConfig) != HAL_OK)
  {
    Error_Handler();
  }

}

static void MX_SPI1_Init(void)
{

  /* SPI1 parameter configuration*/
  hspi1.Instance = SPI1;
  hspi1.Init.Mode = SPI_MODE_MASTER;
  hspi1.Init.Direction = SPI_DIRECTION_2LINES;
  hspi1.Init.DataSize = SPI_DATASIZE_16BIT;
  hspi1.Init.CLKPolarity = SPI_POLARITY_LOW;
  hspi1.Init.CLKPhase = SPI_PHASE_1EDGE;
  hspi1.Init.NSS = SPI_NSS_HARD_OUTPUT;
  hspi1.Init.BaudRatePrescaler = SPI_BAUDRATEPRESCALER_16;
  hspi1.Init.FirstBit = SPI_FIRSTBIT_MSB;
  hspi1.Init.TIMode = SPI_TIMODE_DISABLE;
  hspi1.Init.CRCCalculation = SPI_CRCCALCULATION_ENABLE;
  hspi1.Init.CRCPolynomial = 7;
  hspi1.Init.CRCLength = SPI_CRC_LENGTH_16BIT;
  hspi1.Init.NSSPMode = SPI_NSS_PULSE_DISABLE;
  if (HAL_SPI_Init(&hspi1) != HAL_OK)
  {
    Error_Handler();
  }

}

static void MX_USART1_UART_Init(void)
{

  huart1.Instance = USART1;
  huart1.Init.BaudRate = 921600;
  huart1.Init.WordLength = UART_WORDLENGTH_8B;
  huart1.Init.StopBits = UART_STOPBITS_1;
  huart1.Init.Parity = UART_PARITY_NONE;
  huart1.Init.Mode = UART_MODE_TX_RX;
  huart1.Init.HwFlowCtl = UART_HWCONTROL_NONE;
  huart1.Init.OverSampling = UART_OVERSAMPLING_16;
  huart1.Init.OneBitSampling = UART_ONE_BIT_SAMPLE_DISABLE;
  huart1.Init.ClockPrescaler = UART_PRESCALER_DIV1;
  huart1.AdvancedInit.AdvFeatureInit = UART_ADVFEATURE_NO_INIT;
  if (HAL_UART_Init(&huart1) != HAL_OK)
  {
    Error_Handler();
  }
  if (HAL_UARTEx_SetTxFifoThreshold(&huart1, UART_TXFIFO_THRESHOLD_1_8) != HAL_OK)
  {
    Error_Handler();
  }
  if (HAL_UARTEx_SetRxFifoThreshold(&huart1, UART_RXFIFO_THRESHOLD_1_8) != HAL_OK)
  {
    Error_Handler();
  }
  if (HAL_UARTEx_DisableFifoMode(&huart1) != HAL_OK)
  {
    Error_Handler();
  }

}

static void MX_DMA_Init(void)
{

  /* DMA controller clock enable */
  __HAL_RCC_DMAMUX1_CLK_ENABLE();
  __HAL_RCC_DMA1_CLK_ENABLE();

  /* DMA interrupt init */
  /* DMA1_Channel1_IRQn interrupt configuration */
  HAL_NVIC_SetPriority(DMA1_Channel1_IRQn, 0, 0);
  HAL_NVIC_EnableIRQ(DMA1_Channel1_IRQn);
  /* DMA1_Channel2_IRQn interrupt configuration */
  HAL_NVIC_SetPriority(DMA1_Channel2_IRQn, 0, 0);
  HAL_NVIC_EnableIRQ(DMA1_Channel2_IRQn);
  /* DMA1_Channel3_IRQn interrupt configuration */
  HAL_NVIC_SetPriority(DMA1_Channel3_IRQn, 0, 0);
  HAL_NVIC_EnableIRQ(DMA1_Channel3_IRQn);
  /* DMA1_Channel4_IRQn interrupt configuration */
  HAL_NVIC_SetPriority(DMA1_Channel4_IRQn, 0, 0);
  HAL_NVIC_EnableIRQ(DMA1_Channel4_IRQn);
  /* DMA1_Channel5_IRQn interrupt configuration */
  HAL_NVIC_SetPriority(DMA1_Channel5_IRQn, 0, 0);
  HAL_NVIC_EnableIRQ(DMA1_Channel5_IRQn);

}

static void MX_GPIO_Init(void)
{
  GPIO_InitTypeDef GPIO_InitStruct = {0};

  /* GPIO Ports Clock Enable */
  __HAL_RCC_GPIOC_CLK_ENABLE();
  __HAL_RCC_GPIOF_CLK_ENABLE();
  __HAL_RCC_GPIOA_CLK_ENABLE();
  __HAL_RCC_GPIOB_CLK_ENABLE();

  /*Configure GPIO pin Output Level */
  HAL_GPIO_WritePin(GPIOC, SEL0_Pin|SEL1_Pin, GPIO_PIN_RESET);

  /*Configure GPIO pin Output Level */
  HAL_GPIO_WritePin(HALL_NEN_GPIO_Port, HALL_NEN_Pin, GPIO_PIN_SET);

  /*Configure GPIO pin Output Level */
  HAL_GPIO_WritePin(GPIOB, LED_FN0_Pin|READY_Pin, GPIO_PIN_RESET);

  /*Configure GPIO pin : ID0_Pin */
  GPIO_InitStruct.Pin = ID0_Pin;
  GPIO_InitStruct.Mode = GPIO_MODE_INPUT;
  GPIO_InitStruct.Pull = GPIO_NOPULL;
  HAL_GPIO_Init(ID0_GPIO_Port, &GPIO_InitStruct);

  /*Configure GPIO pins : SEL0_Pin SEL1_Pin */
  GPIO_InitStruct.Pin = SEL0_Pin|SEL1_Pin;
  GPIO_InitStruct.Mode = GPIO_MODE_OUTPUT_PP;
  GPIO_InitStruct.Pull = GPIO_NOPULL;
  GPIO_InitStruct.Speed = GPIO_SPEED_FREQ_LOW;
  HAL_GPIO_Init(GPIOC, &GPIO_InitStruct);

  /*Configure GPIO pins : ID1_Pin ID2_Pin */
  GPIO_InitStruct.Pin = ID1_Pin|ID2_Pin;
  GPIO_InitStruct.Mode = GPIO_MODE_INPUT;
  GPIO_InitStruct.Pull = GPIO_NOPULL;
  HAL_GPIO_Init(GPIOF, &GPIO_InitStruct);

  /*Configure GPIO pin : HALL_NEN_Pin */
  GPIO_InitStruct.Pin = HALL_NEN_Pin;
  GPIO_InitStruct.Mode = GPIO_MODE_OUTPUT_OD;
  GPIO_InitStruct.Pull = GPIO_NOPULL;
  GPIO_InitStruct.Speed = GPIO_SPEED_FREQ_LOW;
  HAL_GPIO_Init(HALL_NEN_GPIO_Port, &GPIO_InitStruct);

  /*Configure GPIO pins : LED_FN0_Pin READY_Pin */
  GPIO_InitStruct.Pin = LED_FN0_Pin|READY_Pin;
  GPIO_InitStruct.Mode = GPIO_MODE_OUTPUT_PP;
  GPIO_InitStruct.Pull = GPIO_NOPULL;
  GPIO_InitStruct.Speed = GPIO_SPEED_FREQ_LOW;
  HAL_GPIO_Init(GPIOB, &GPIO_InitStruct);

  /*Configure GPIO pin : SW_FN0_Pin */
  GPIO_InitStruct.Pin = SW_FN0_Pin;
  GPIO_InitStruct.Mode = GPIO_MODE_INPUT;
  GPIO_InitStruct.Pull = GPIO_PULLUP;
  HAL_GPIO_Init(SW_FN0_GPIO_Port, &GPIO_InitStruct);

  /*Configure GPIO pin : PGM_DETECT_Pin */
  GPIO_InitStruct.Pin = PGM_DETECT_Pin;
  GPIO_InitStruct.Mode = GPIO_MODE_INPUT;
  GPIO_InitStruct.Pull = GPIO_PULLUP;
  HAL_GPIO_Init(PGM_DETECT_GPIO_Port, &GPIO_InitStruct);

  /*Configure GPIO pin : BOOT0_Pin */
  GPIO_InitStruct.Pin = BOOT0_Pin;
  GPIO_InitStruct.Mode = GPIO_MODE_INPUT;
  GPIO_InitStruct.Pull = GPIO_NOPULL;
  HAL_GPIO_Init(BOOT0_GPIO_Port, &GPIO_InitStruct);

}

void Error_Handler(void)
{
  __disable_irq();
  while (1)
  {
  }
}
